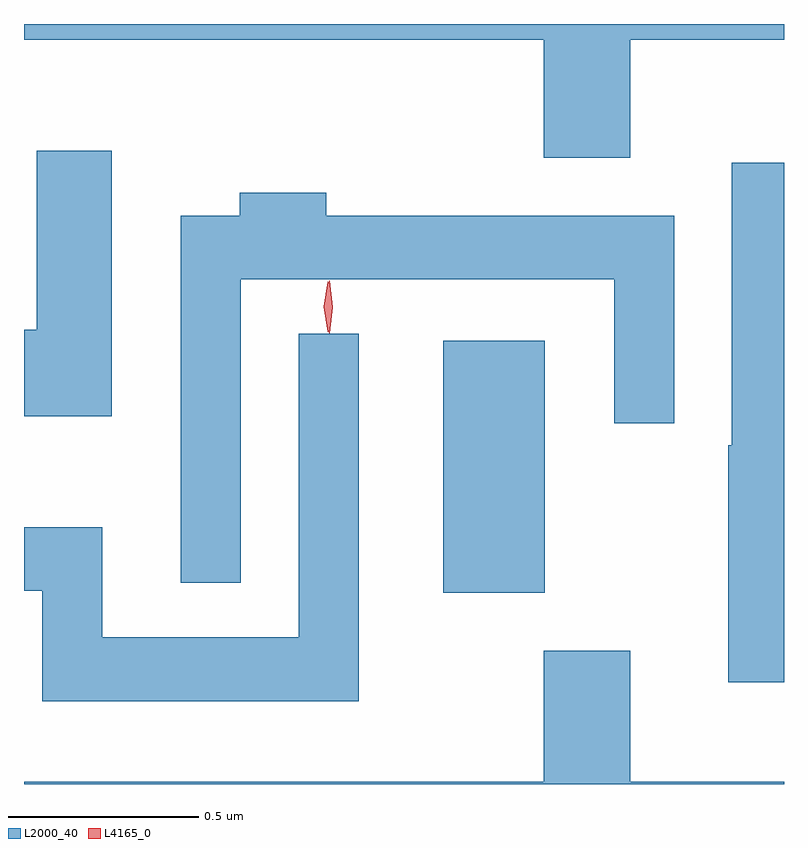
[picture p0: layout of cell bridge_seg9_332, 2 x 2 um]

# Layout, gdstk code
import gdstk
lib = gdstk.Library(unit=1e-6, precision=1e-09)
def R(c, l, rs):  # rectangles x0, y0, x1, y1
    for r in rs: c.add(gdstk.rectangle(r[:2], r[2:], *l))
def P(c, l, *ps):  # polygons
    for p in ps: c.add(gdstk.Polygon(p, *l))
L2000_40 = (2000, 40)
L4165_0 = (4165, 0)

bridge_seg9_332 = lib.new_cell('bridge_seg9_332')
R(bridge_seg9_332, L2000_40, [(1029.996,2070.281,1030.264,2070.944)])
P(bridge_seg9_332, L2000_40, [(1030.489,2071.736),(1030.893,2071.736),(1030.893,2071.778),(1028.893,2071.778),(1028.893,2071.736),(1030.261,2071.736),(1030.261,2071.426),(1030.489,2071.426)],
  [(1029.124,2071.444),(1028.926,2071.444),(1028.926,2070.974),(1028.893,2070.974),(1028.893,2070.746),(1029.124,2070.746)],
  [(1030.893,2071.413),(1030.756,2071.413),(1030.756,2070.67),(1030.746,2070.67),(1030.746,2070.046),(1030.893,2070.046)],
  [(1029.464,2071.106),(1030.446,2071.106),(1030.446,2070.728),(1030.604,2070.728),(1030.604,2071.274),(1029.689,2071.274),(1029.689,2071.334),(1029.461,2071.334),(1029.461,2071.274),(1029.306,2071.274),(1029.306,2070.308),(1029.464,2070.308)],
  [(1029.774,2070.963),(1029.616,2070.963),(1029.616,2070.164),(1029.099,2070.164),(1029.099,2070.454),(1028.893,2070.454),(1028.893,2070.286),(1028.941,2070.286),(1028.941,2069.996),(1029.774,2069.996)],
  [(1030.893,2069.784),(1030.489,2069.784),(1030.489,2070.129),(1030.261,2070.129),(1030.261,2069.784),(1028.893,2069.784),(1028.893,2069.778),(1030.893,2069.778)])
P(bridge_seg9_332, L4165_0, [(1029.696,2070.964),(1029.696,2070.964),(1029.686,2071.033),(1029.696,2071.103),(1029.696,2071.103),(1029.697,2071.103),(1029.706,2071.033),(1029.697,2070.964)],
  [(1029.693,2070.967),(1029.692,2070.968),(1029.682,2071.034),(1029.692,2071.1),(1029.692,2071.1),(1029.693,2071.1),(1029.702,2071.034),(1029.693,2070.968)])

lib.write_gds('bridge_seg9_332.gds')
